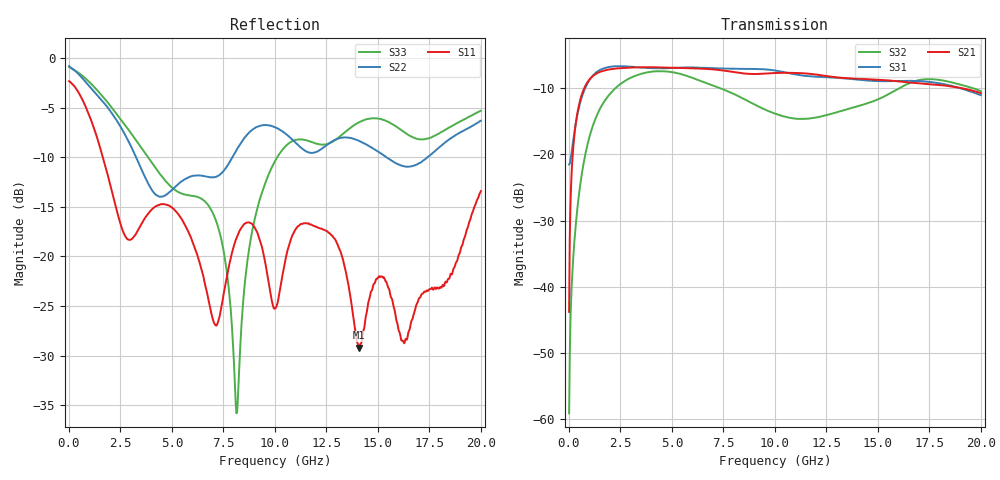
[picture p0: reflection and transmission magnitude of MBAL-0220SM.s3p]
! MARKI MICROWAVE INC.
! Email:  info@markimicrowave.com  Phone:  408-778-4200
! Model Number:  MBAL-0220SM  Date:  10/19
! Filename:		MBAL-0220SM.S3P  Version: 1.0
! Description:  3-port S-parameter data for Balun MBAL-0220SM
! Frequency Range: 	10 MHz to 20 GHz
! Port Configuration:	PORT 1: COMMON , PORT 2: OUTPUT(0 DEGREE), PORT 3: COMMON (180 DEGREE)
! S3P File: Measurements: Mag<S11> Ang<S11> Mag<S12> Ang<S12> Mag<S13> Ang<S13>! row 1
!  Mag<S21> Ang<S21> Mag<S22> Ang<S22> Mag<S23> Ang<S23>! row 2
!  Mag<S31> Ang<S31> Mag<S32> Ang<S32> Mag<S33> Ang<S33>! row 3
# Hz S  dB  R 50
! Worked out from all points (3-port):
!   641 points, 10 MHz to 20 GHz, reference 50 ohm
!   strongest paths, dB at 10 MHz, 5.008 GHz, 10.01 GHz, 15 GHz, 20 GHz:
!     S21: -43.8, -6.9, -7.7, -8.7, -10.8
!     S31: -21.5, -6.9, -7.3, -8.9, -11.0
!     S32: -59.1, -7.6, -13.8, -11.7, -10.4
!   lowest |S11| = -29.2 dB at 14.1 GHz (marker M1), VSWR 1.07, Z = 50.4 + j3.46 ohm
!   |S11| at or under -10 dB: 1.649 GHz to end of sweep
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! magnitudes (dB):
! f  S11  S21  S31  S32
! 10 MHz  -2.3  -43.8  -21.5  -59.1
! 197.4 MHz  -2.6  -19.5  -18.2  -36.2
! 541 MHz  -3.7  -11.9  -12.3  -24.8
! 1.853 GHz  -11.5  -7.2  -6.9  -11.4
! 7.038 GHz  -26.7  -7.2  -7.0  -9.6
! 8.132 GHz  -18.2  -7.6  -7.1  -11.0
! 10.01 GHz  -25.3  -7.7  -7.3  -13.8
! 12.35 GHz  -17.3  -8.1  -8.3  -14.2
! 14.1 GHz  -29.2  -8.6  -8.7  -12.7
! 20 GHz  -13.4  -10.8  -11.0  -10.4
